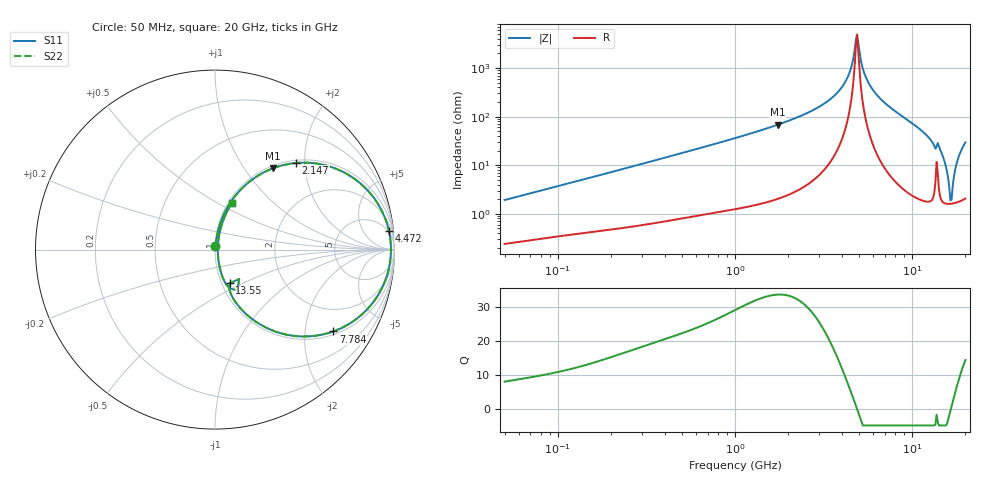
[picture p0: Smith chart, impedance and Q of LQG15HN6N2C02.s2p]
!Murata Part Number: LQG15HN6N2C02
!These Parameters are Measured in Series Mode Connection
!  o--[Z]--o
!Port1  Port2
!  o-------o
!Freq. Start=50[MHz] Stop=20[GHz], 401[Steps]
# Hz S RI R 50
!Freq.(Hz) S11(Real) S11(Imag) S21(Real) S21(Imag) S12(Real) S12(Imag) S22(Real) S22(Imag)
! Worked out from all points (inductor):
!   401 points, 50 MHz to 20 GHz, reference 50 ohm
!   read as one part in series: L = 5.98 nH near 51.52 MHz
!   highest Q = 33.6 at 1.741 GHz (marker M1), where L = 6.22 nH
!   self-resonance near 4.82 GHz
!   S11 on the Smith chart (normalised r, x): 50 MHz: 1.00, +0.04; 2.147 GHz: 1.06, +1.80; 4.472 GHz: 4, +17; 7.784 GHz: 1.10, -2.81; 13.55 GHz: 1.09, -0.43; 20 GHz: 1.04, +0.59
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5e7  0.00275 0.0189  0.9973 -0.0189  0.9973 -0.0189  0.00275 0.0189
1.364002e8  0.00638 0.0491  0.9936 -0.0491  0.9936 -0.0491  0.00638 0.0491
3.721004e8  0.0235 0.1283  0.9765 -0.1283  0.9765 -0.1283  0.0235 0.1283
1e9  0.1233 0.312  0.8767 -0.312  0.8767 -0.312  0.1233 0.312
1.740566e9  0.3214 0.4524  0.6786 -0.4524  0.6786 -0.4524  0.3214 0.4524
2.146657e9  0.4505 0.4825  0.5495 -0.4825  0.5495 -0.4825  0.4505 0.4825
2.728004e9  0.6352 0.464  0.3648 -0.464  0.3648 -0.464  0.6352 0.464
3.736399e9  0.8833 0.2909  0.1167 -0.2909  0.1167 -0.2909  0.8833 0.2909
4.472136e9  0.9688 0.1053  0.0312 -0.1053  0.0312 -0.1053  0.9688 0.1053
4.748272e9  0.9792 0.0335  0.0208 -0.0335  0.0208 -0.0335  0.9792 0.0335
4.89267e9  0.9803 -0.00329  0.0197 0.00329  0.0197 0.00329  0.9803 -0.00329
5.273168e9  0.9707 -0.0962  0.0293 0.0962  0.0293 0.0962  0.9707 -0.0962
5.683258e9  0.9428 -0.1869  0.0572 0.1869  0.0572 0.1869  0.9428 -0.1869
7.442007e9  0.7113 -0.4337  0.2887 0.4337  0.2887 0.4337  0.7113 -0.4337
7.784049e9  0.6589 -0.456  0.3411 0.456  0.3411 0.456  0.6589 -0.456
1.034674e10  0.3139 -0.4479  0.6861 0.4479  0.6861 0.4479  0.3139 -0.4479
1.354865e10  0.0819 -0.1876  0.9181 0.1876  0.9181 0.1876  0.0819 -0.1876
1.504638e10  0.0344 -0.131  0.9656 0.131  0.9656 0.131  0.0344 -0.131
1.646126e10  0.0159 -0.00947  0.9841 0.00947  0.9841 0.00947  0.0159 -0.00947
1.696185e10  0.0171 0.0319  0.9829 -0.0319  0.9829 -0.0319  0.0171 0.0319
1.828096e10  0.0367 0.1368  0.9633 -0.1368  0.9633 -0.1368  0.0367 0.1368
2e10  0.0954 0.2609  0.9046 -0.2609  0.9046 -0.2609  0.0954 0.2609
